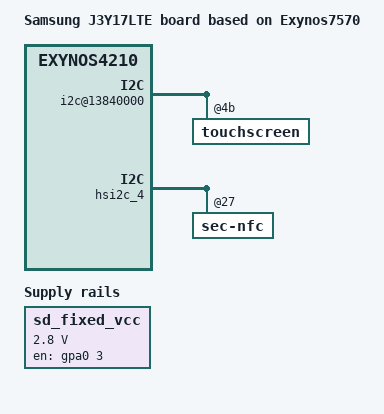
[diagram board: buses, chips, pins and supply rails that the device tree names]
/*
 * SAMSUNG UNIVERSAL7570 board device tree source
 *
 * Copyright (c) 2013 Samsung Electronics Co., Ltd.
 *		http://www.samsung.com
 *
 * This program is free software; you can redistribute it and/or modify
 * it under the terms of the GNU General Public License version 2 as
 * published by the Free Software Foundation.
 */

/dts-v1/;
#include "exynos7570-rmem.dtsi"
#include "exynos7570-j3y17lte_common.dtsi"
#include "modem-ss305ap-pdata.dtsi"
#include "exynos7570-j3y17lte_battery.dtsi"
#include "exynos7570-j3y17lte_eur_open_gpio_00.dtsi"

/ {
	model = "Samsung J3Y17LTE board based on Exynos7570";
	model_info-chip = <7570>;
	model_info-platform = "android";
	model_info-subtype = "samsung";
	model_info-hw_rev = <1>;
	model_info-hw_rev_end = <1>;
	compatible = "samsung,exynos7570", "samsung,exynos4210";

	pinctrl@139B0000 {
		fm_lna_en: fm-lna-en {
			samsung,pins = "gpd1-0";
			samsung,pin-function = <1>;
			samsung,pin-pud = <0>;
			samsung,pin-val = <0>;
		};
		fm_dtv_ctrl: fm-dtv-ctrl {
			samsung,pins = "gpd1-5";
			samsung,pin-function = <1>;
			samsung,pin-pud = <0>;
			samsung,pin-val = <0>;
		};
	};

	fm_gpio: fm@14840000 {
		elna_gpio = <&gpd1 0 0x1>; /* FM_LNA_EN */
		dtv_ctrl_gpio = <&gpd1 5 0x1>; /* FM_DTV_CTRL */
		fm_iclk_aux = <0>;
		pinctrl-names = "default";
		pinctrl-0 = <&fm_lna_en &fm_dtv_ctrl>;
		sw_mute_weak = <1>;
		status = "okay";
	};

	pinctrl@139E0000 {
		gpc7: gpc7 {
			gpio-controller;
			#gpio-cells = <2>;

			interrupt-controller;
			#interrupt-cells = <2>;
		};
	};

	speedy@10510000 {
		s2mpu06mfd@00 {
			regulators {
				ldo16_reg: LDO16 {
					regulator-name = "VDD_MOTOR_3P3";
					regulator-min-microvolt = <3300000>;
					regulator-max-microvolt = <3300000>;
					regulator-ramp-delay = <12000>;
					regulator-initial-mode = <0>;
				};
			};
		};
	};

	sec_vib {
		compatible = "sec_vib";
		sec_vib_pdata {
			status = "okay";
			sec_vib,max_timeout = <10000>;
			/* 0: pmic ldo, 1: external ldo */
			sec_vib,ldo_type = <0>;
			sec_vib,regulator = "VDD_MOTOR_3P3";
		};
	};

	pinctrl@139F0000 {
		dwmmc2_tflash_en: dwmmc2_tflash_en {
			   samsung,pins = "gpa0-3";
			   samsung,pin-function = <0x1>;
			   samsung,pin-val = <1>;
			   samsung,pin-pud = <0>;
			   samsung,pin-drv = <4>;
		};
	};

	dwmmc2@13560000 {
		pinctrl-names = "default",
			"fast-slew-rate-1x",
			"fast-slew-rate-2x",
			"fast-slew-rate-3x",
			"fast-slew-rate-4x";
		pinctrl-0 = <&sd2_clk &sd2_cmd &sd2_bus1 &sd2_bus4
			     &dwmmc2_cd_ext_irq &dwmmc2_tflash_en>;
		pinctrl-1 = <&sd2_clk_fast_slew_rate_1x>;
		pinctrl-2 = <&sd2_clk_fast_slew_rate_2x>;
		pinctrl-3 = <&sd2_clk_fast_slew_rate_3x>;
		pinctrl-4 = <&sd2_clk_fast_slew_rate_4x>;
	};

	sd_fixed_vcc: fixedregulator@1 {
		      compatible = "regulator-fixed";
		      regulator-name = "vmmc";
		      gpio = <&gpa0 3 1>;
		      regulator-min-microvolt = <2800000>;
		      regulator-max-microvolt = <2800000>;
		      regulator-initial-mode = <0>;
		      enable-active-high;
		      regulator-boot-on;
	};

	pinctrl@139B0000 {
		fimc_is_flash_host: fimc-is-flash-host {
			samsung,pins = "gpf3-3";
			samsung,pin-function = <1>;
			samsung,pin-pud = <1>;
			samsung,pin-drv = <0>;
		};
		fimc_is_flash_is: fimc-is-flash-is {
			samsung,pins = "gpf3-3";
			samsung,pin-function = <1>;
			samsung,pin-pud = <1>;
			samsung,pin-drv = <0>;
		};
	};

	leds_ktd2692 {
		compatible = "ktd2692";
		flash_control = <&gpf3 3 0x1>;
		status = "okay";
		pinctrl-names ="default","host","is";
		pinctrl-0 = <&fimc_is_flash_is>;
		pinctrl-1 = <&fimc_is_flash_host>;
		pinctrl-2 = <&fimc_is_flash_is>;
	};

	i2c@13840000 {
		touchscreen@4b {
			synaptics,project_name = "On5x","G570";
			synaptics,firmware_name = "tsp_synaptics/td4100_on5xlte.fw";
			synaptics,firmware_name_bl = "tsp_synaptics/td4100_on5xlte_recovery.fw";
		};
	};
	
	/* modem_interface */
	mif_pdata {
		reg = <0 0x10000 0x0>;

		pinctrl-names = "default";
		pinctrl-0 = <&cp_gpio_j3y17_rev1>;
	};

	/* USIM DETECTION FOR CP */
	usim_det {
		pinctrl-names = "default";
		pinctrl-0 = <&sim0_gpio_on5 &sim1_gpio_on5>;

		mif,num_of_usim_det = <2>;
		mif,usim-det0-gpio = <&gpa1 4 0>;
		mif,usim-det1-gpio = <&gpa2 4 0>;

	};

	hsi2c_4: hsi2c@138B0000 {
		sec-nfc@27 {
			sec-nfc,nfc_clkint = <&gpa0 6 0>;
			sec-nfc,manual_clkctrl;
			sec-nfc,check_nfc = <&gpa2 5 0>;
		};
	};

	td4100: td4100_hd {
		mode = <0>; /* 0: video mode, 1: DP command mode, 2: MIPI command mode */
		/* HD(720 x 1280) */
		panel_name = "td4100";
		resolution = <720 1280>;
		dispif_resol = <720 1280>;
		size = <62 106>;
		timing,refresh = <60>;

		/* dsim H porch : hbp, hfp, hsa */
		timing,dsim_h-porch = <25 210 25>;
		/* dsim V porch : VBP, VFP, VSA */
		timing,dsim_v-porch = <13 400 2>;

		/* decon H porch : hbp, hfp, hsa */
		timing,decon_h-porch = <25 423 25>;
		/* decon V porch : VBP, VFP, VSA */
		timing,decon_v-porch = <13 400 2>;

		timing,dsi-hs-clk = <728>;
		timing,pms = <2 112 1>;
		timing,dsi-escape-clk = <16>;

		rev = <1>;
	};
};
